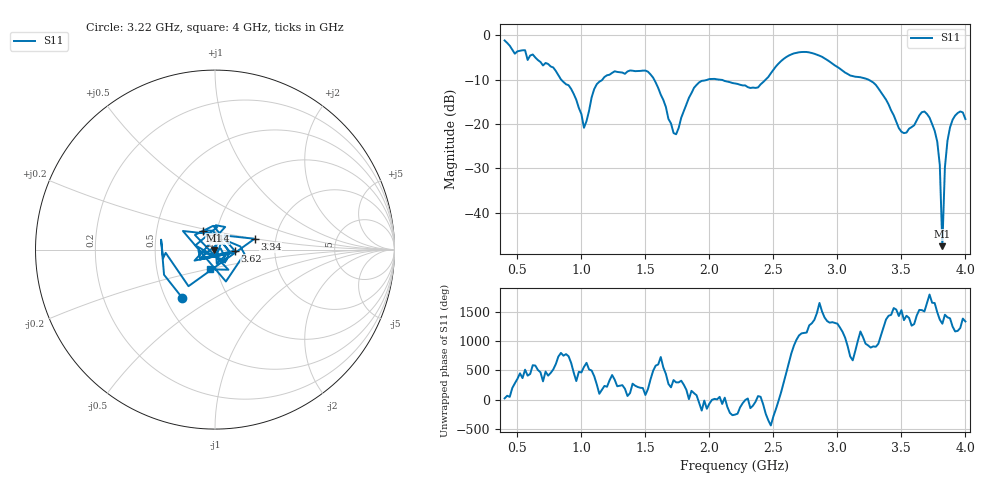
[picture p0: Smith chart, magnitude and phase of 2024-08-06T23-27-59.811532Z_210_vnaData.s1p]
!Created with skrf (http://scikit-rf.org).
# Hz S RI R 50.0
!freq ReS11 ImS11
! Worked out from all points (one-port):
!   181 points, 400 MHz to 4 GHz, reference 50 ohm
!   lowest |S11| = -47.5 dB at 3.82 GHz (marker M1), VSWR 1.01, Z = 49.7 - j0.249 ohm
!   |S11| at or under -10 dB: 1.568 GHz to 1.989 GHz (420.7 MHz wide, 23.7 % of centre); 2.071 GHz to 2.44 GHz (369.3 MHz wide, 16.4 % of centre); 3.241 GHz to end of sweep (the widest 3 of 4)
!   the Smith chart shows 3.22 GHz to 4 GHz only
!   S11 on the Smith chart (normalised r, x): 3.22 GHz: 0.61, -0.36; 3.34 GHz: 1.55, +0.20; 3.44 GHz: 0.85, +0.18; 3.62 GHz: 1.25, -0.02; 4 GHz: 0.92, -0.21
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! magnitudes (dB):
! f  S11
! 400 MHz  -1.2
! 860 MHz  -10.5
! 940 MHz  -13.2
! 1.02 GHz  -20.9
! 1.12 GHz  -11.0
! 1.3 GHz  -8.4
! 1.52 GHz  -8.2
! 1.72 GHz  -22.0
! 1.76 GHz  -20.9
! 1.92 GHz  -10.6
! 2.2 GHz  -10.9
! 2.38 GHz  -11.8
! 2.66 GHz  -4.1
! 3.1 GHz  -9.1
! 3.22 GHz  -9.8
! 3.34 GHz  -12.8
! 3.44 GHz  -18.0
! 3.5 GHz  -21.7
! 3.56 GHz  -21.1
! 3.62 GHz  -19.2
! 3.7 GHz  -17.7
! 3.78 GHz  -24.0
! 3.8 GHz  -29.2
! 3.82 GHz  -47.5
! 3.84 GHz  -29.7
! 3.86 GHz  -23.8
! 3.92 GHz  -18.1
! 4 GHz  -18.9
